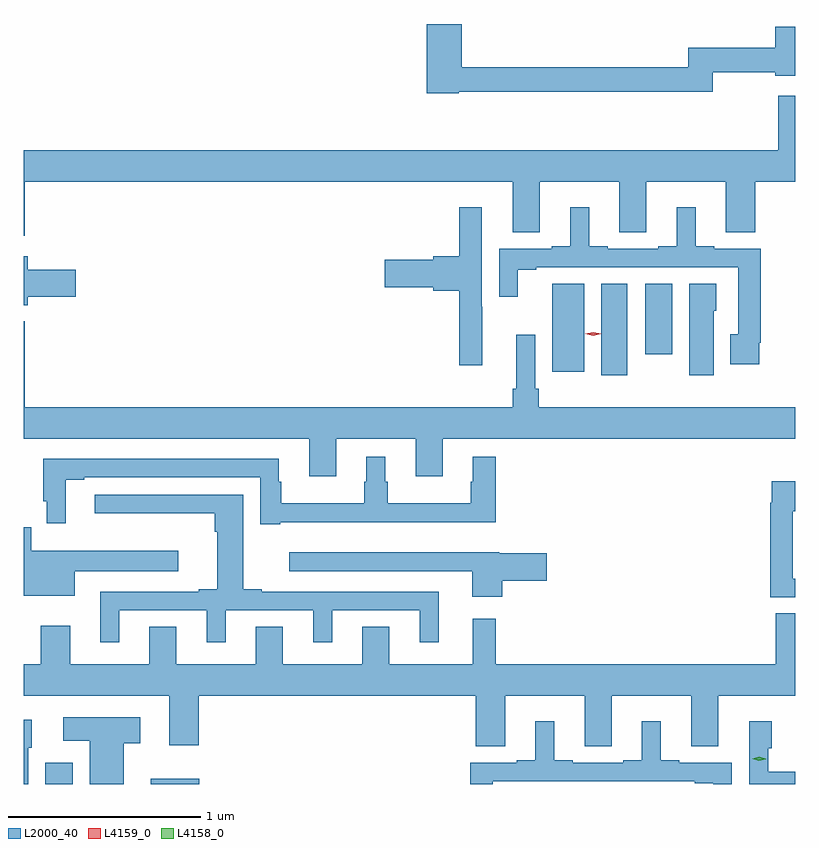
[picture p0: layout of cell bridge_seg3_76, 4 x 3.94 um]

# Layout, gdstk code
import gdstk
lib = gdstk.Library(unit=1e-6, precision=1e-09)
def R(c, l, rs):  # rectangles x0, y0, x1, y1
    for r in rs: c.add(gdstk.rectangle(r[:2], r[2:], *l))
def P(c, l, *ps):  # polygons
    for p in ps: c.add(gdstk.Polygon(p, *l))
L2000_40 = (2000, 40)
L4158_0 = (4158, 0)
L4159_0 = (4159, 0)

bridge_seg3_76 = lib.new_cell('bridge_seg3_76')
R(bridge_seg3_76, L2000_40, [(409.997,688.47,410.14,688.579), (410.543,688.47,410.794,688.498), (412.88,690.588,413.014,691.064), (412.625,690.606,412.792,691.064), (413.108,690.699,413.248,691.064)])
P(bridge_seg3_76, L2000_40, [(412.14,692.058),(413.458,692.058),(413.458,692.16),(413.78,692.16),(413.78,692.141),(413.885,692.141),(413.885,692.395),(413.78,692.395),(413.78,692.288),(413.329,692.288),(413.329,692.186),(412.157,692.186),(412.157,692.41),(411.974,692.41),(411.974,692.05),(412.14,692.05)],
  [(409.891,691.592),(412.421,691.592),(412.421,691.33),(412.561,691.33),(412.561,691.592),(412.973,691.592),(412.973,691.33),(413.113,691.33),(413.113,691.592),(413.525,691.592),(413.525,691.33),(413.678,691.33),(413.678,691.592),(413.885,691.592),(413.885,692.038),(413.796,692.038),(413.796,691.756),(409.885,691.756),(409.885,691.311),(409.891,691.311)],
  [(412.262,690.944),(412.26,690.944),(412.26,691.459),(412.144,691.459),(412.144,691.206),(412.008,691.206),(412.008,691.188),(411.756,691.188),(411.756,691.046),(412.008,691.046),(412.008,691.028),(412.144,691.028),(412.144,690.642),(412.262,690.642)],
  [(413.698,690.757),(413.705,690.757),(413.705,691.245),(413.464,691.245),(413.464,691.258),(413.368,691.258),(413.368,691.459),(413.27,691.459),(413.27,691.258),(413.174,691.258),(413.174,691.245),(412.912,691.245),(412.912,691.258),(412.816,691.258),(412.816,691.459),(412.718,691.459),(412.718,691.258),(412.622,691.258),(412.622,691.245),(412.35,691.245),(412.35,690.996),(412.447,690.996),(412.447,691.137),(412.543,691.137),(412.543,691.149),(413.589,691.149),(413.589,690.801),(413.549,690.801),(413.549,690.645),(413.698,690.645)],
  [(409.906,690.995),(410.155,690.995),(410.155,691.137),(409.906,691.137),(409.906,691.207),(409.885,691.207),(409.885,690.953),(409.906,690.953)],
  [(413.461,690.924),(413.476,690.924),(413.476,691.064),(413.336,691.064),(413.336,690.588),(413.461,690.588)],
  [(411.505,690.26),(411.917,690.26),(411.917,690.066),(412.057,690.066),(412.057,690.26),(413.885,690.26),(413.885,690.424),(412.556,690.424),(412.556,690.52),(412.536,690.52),(412.536,690.799),(412.439,690.799),(412.439,690.52),(412.42,690.52),(412.42,690.424),(409.891,690.424),(409.891,690.868),(409.885,690.868),(409.885,690.26),(411.365,690.26),(411.365,690.066),(411.505,690.066)],
  [(411.214,689.828),(412.331,689.828),(412.331,690.166),(412.214,690.166),(412.214,690.038),(412.203,690.038),(412.203,689.926),(411.772,689.926),(411.772,690.038),(411.76,690.038),(411.76,690.166),(411.662,690.166),(411.662,690.038),(411.651,690.038),(411.651,689.926),(411.22,689.926),(411.22,690.038),(411.208,690.038),(411.208,690.156),(409.987,690.156),(409.987,689.935),(410.005,689.935),(410.005,689.823),(410.104,689.823),(410.104,690.048),(410.2,690.048),(410.2,690.06),(411.111,690.06),(411.111,689.817),(411.214,689.817)],
  [(413.885,689.535),(413.871,689.535),(413.871,689.884),(413.885,689.884),(413.885,690.04),(413.763,690.04),(413.763,689.927),(413.755,689.927),(413.755,689.439),(413.885,689.439)],
  [(410.38,689.37),(410.834,689.37),(410.834,689.205),(410.932,689.205),(410.932,689.37),(411.386,689.37),(411.386,689.205),(411.484,689.205),(411.484,689.37),(411.938,689.37),(411.938,689.205),(412.037,689.205),(412.037,689.466),(411.118,689.466),(411.118,689.479),(411.022,689.479),(411.022,689.97),(410.253,689.97),(410.253,689.873),(410.876,689.873),(410.876,689.777),(410.888,689.777),(410.888,689.479),(410.792,689.479),(410.792,689.466),(410.282,689.466),(410.282,689.205),(410.38,689.205)],
  [(410.149,689.573),(410.686,689.573),(410.686,689.68),(409.923,689.68),(409.923,689.8),(409.885,689.8),(409.885,689.447),(410.149,689.447)],
  [(412.367,689.524),(412.597,689.524),(412.597,689.666),(412.35,689.666),(412.35,689.671),(411.261,689.671),(411.261,689.574),(412.211,689.574),(412.211,689.442),(412.367,689.442)],
  [(412.381,688.928),(412.793,688.928),(412.793,688.666),(412.933,688.666),(412.933,688.928),(413.345,688.928),(413.345,688.666),(413.485,688.666),(413.485,688.928),(413.885,688.928),(413.885,689.354),(413.783,689.354),(413.783,689.092),(412.331,689.092),(412.331,689.326),(412.214,689.326),(412.214,689.092),(411.781,689.092),(411.781,689.285),(411.641,689.285),(411.641,689.092),(411.229,689.092),(411.229,689.285),(411.089,689.285),(411.089,689.092),(410.677,689.092),(410.677,689.285),(410.537,689.285),(410.537,689.092),(410.125,689.092),(410.125,689.29),(409.973,689.29),(409.973,689.092),(409.885,689.092),(409.885,688.928),(410.639,688.928),(410.639,688.671),(410.792,688.671),(410.792,688.928),(412.229,688.928),(412.229,688.666),(412.381,688.666)],
  [(410.404,688.682),(410.488,688.682),(410.488,688.816),(410.091,688.816),(410.091,688.694),(410.228,688.694),(410.228,688.47),(410.404,688.47)],
  [(409.908,688.659),(409.927,688.659),(409.927,688.804),(409.885,688.804),(409.885,688.47),(409.908,688.47)],
  [(412.317,688.485),(413.363,688.485),(413.363,688.473),(413.459,688.473),(413.459,688.47),(413.556,688.47),(413.556,688.581),(413.284,688.581),(413.284,688.594),(413.188,688.594),(413.188,688.795),(413.09,688.795),(413.09,688.594),(412.994,688.594),(412.994,688.581),(412.732,688.581),(412.732,688.594),(412.636,688.594),(412.636,688.795),(412.538,688.795),(412.538,688.594),(412.442,688.594),(412.442,688.581),(412.201,688.581),(412.201,688.47),(412.317,688.47)],
  [(413.885,688.534),(413.745,688.534),(413.745,688.656),(413.762,688.656),(413.762,688.795),(413.646,688.795),(413.646,688.47),(413.885,688.47)])
P(bridge_seg3_76, L4158_0, [(413.696,688.591),(413.661,688.602),(413.66,688.602),(413.661,688.602),(413.697,688.611),(413.732,688.6),(413.733,688.6),(413.732,688.599)])
P(bridge_seg3_76, L4159_0, [(412.837,690.793),(412.796,690.803),(412.796,690.803),(412.796,690.804),(412.837,690.813),(412.878,690.803),(412.878,690.803),(412.878,690.803)])

lib.write_gds('bridge_seg3_76.gds')
